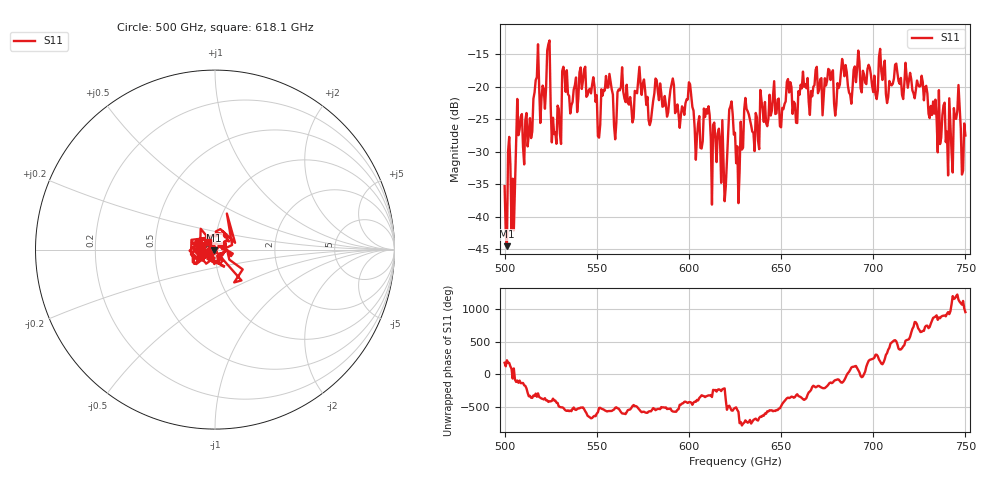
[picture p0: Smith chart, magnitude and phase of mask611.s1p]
!Created with skrf (http://scikit-rf.org).
# GHz S MA R 50.0
!freq magS11 angS11
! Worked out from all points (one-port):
!   401 points, 500 GHz to 750 GHz, reference 50 ohm
!   lowest |S11| = -44.5 dB at 501.2 GHz (marker M1), VSWR 1.01, Z = 49.5 - j0.362 ohm
!   |S11| at or under -10 dB: start of sweep to end of sweep
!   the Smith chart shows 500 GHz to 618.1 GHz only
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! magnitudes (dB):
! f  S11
! 500 GHz  -35.3
! 501.2 GHz  -44.5
! 505 GHz  -42.1
! 508.1 GHz  -26.6
! 513.8 GHz  -24.8
! 517.5 GHz  -18.6
! 520.6 GHz  -19.8
! 523.8 GHz  -13.5
! 526.9 GHz  -27.3
! 531.2 GHz  -17.6
! 542.5 GHz  -19.1
! 550.6 GHz  -27.6
! 562.5 GHz  -20.6
! 593.8 GHz  -22.7
! 610 GHz  -24.1
! 618.8 GHz  -31.1
! 622.5 GHz  -23.1
! 625 GHz  -27.1
! 626.2 GHz  -29.2
! 631.2 GHz  -23.4
! 636.9 GHz  -24.7
! 656.2 GHz  -24.2
! 676.9 GHz  -19.0
! 680 GHz  -22.8
! 683.8 GHz  -16.8
! 687.5 GHz  -21.2
! 718.8 GHz  -20.2
! 750 GHz  -27.5
